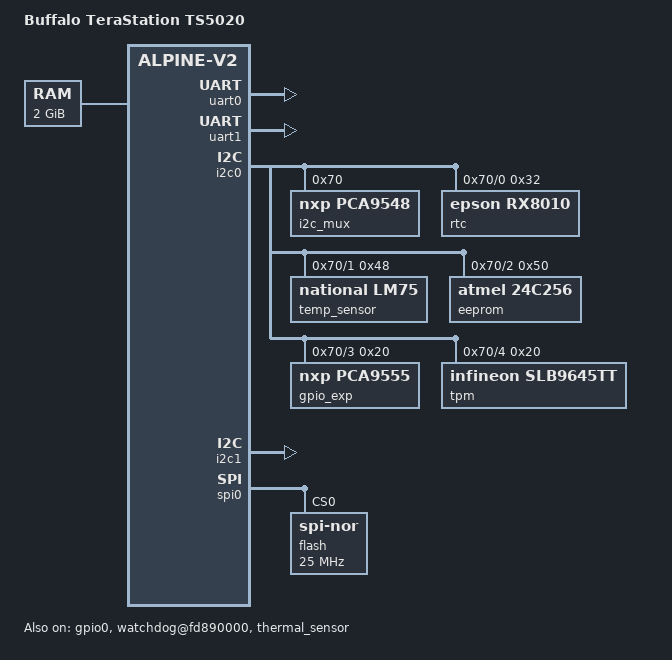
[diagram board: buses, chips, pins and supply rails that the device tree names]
/*
 * Device Tree Source for Buffalo TeraStation TS5020
 * Based on Annapurna Labs Alpine V2 SoC
 *
 * Reconstructed from:
 *   - alpine-v2.dtsi (upstream)
 *   - buffalo_ts5020_defconfig
 *   - Annapurna Labs SDK patch (v4.19.75-241-g0fb91c28a25c.patch)
 *   - Buffalo platform patch (linux-4.19.75_buffalo.patch)
 *   - micon_v3 driver source
 *
 * STATUS: DRAFT - addresses/IRQs marked TODO need verification
 *         from running hardware or U-Boot environment.
 */

/dts-v1/;

#include "alpine-v2.dtsi"
#include <dt-bindings/gpio/gpio.h>

/ {
	model = "Buffalo TeraStation TS5020";
	compatible = "buffalo,ts5020", "al,alpine-v2";

	aliases {
		serial0 = &uart0;
		serial1 = &uart1;
		serial2 = &uart2;
		serial3 = &uart3;
	};

	chosen {
		stdout-path = "serial0:115200n8";
	};

	memory@0 {
		device_type = "memory";
		/* TODO: Actual memory size - likely 4GB or 8GB ECC DDR4 */
		reg = <0x0 0x00000000 0x0 0x80000000>;  /* 2GB placeholder */
	};

	/*
	 * Buffalo Microcontroller (Micon V3)
	 * Connected via UART1 (/dev/ttyS1) at 115200 baud
	 * Handles: power off, reboot, beep, status LEDs
	 * Protocol: ESC init, command, CR delimiter, echo-back, OK/NG response
	 *
	 * Not a DT device - driven by kernel module opening /dev/ttyS1
	 */

	gpio-keys {
		compatible = "gpio-keys";
		/* TODO: Determine actual GPIO numbers from board */

		/* Power button - likely directly wired or via micon */
		/*
		power-button {
			label = "Power Button";
			linux,code = <116>;
			gpios = <&gpio0 TODO GPIO_ACTIVE_LOW>;
		};
		*/
	};

	gpio-leds {
		compatible = "gpio-leds";
		/* TODO: Determine actual GPIO pin assignments
		 *
		 * TS5020 typically has:
		 *   - Power LED (white/orange)
		 *   - Info/Error LED (orange)
		 *   - Per-disk activity LEDs
		 *   - LAN LEDs (on PHY/switch typically)
		 *
		 * Many LEDs may be controlled via micon or PCA953x GPIO expander
		 */
	};
};

/* ====== UART ====== */

/* Console UART */
&uart0 {
	status = "okay";
};

/* Micon V3 microcontroller UART - 115200 8N1 */
&uart1 {
	status = "okay";
};

/* Additional UARTs - enable if needed */
/* &uart2 { status = "okay"; }; */
/* &uart3 { status = "okay"; }; */

/* ====== SoC io-fabric additions ====== */
&soc {

	/* ====== I2C ====== */

	i2c0: i2c@fd880000 {
		compatible = "snps,designware-i2c";
		reg = <0x0 0xfd880000 0x0 0x1000>;
		/* TODO: interrupt number */
		interrupts = <GIC_SPI 0 IRQ_TYPE_LEVEL_HIGH>; /* TODO */
		#address-cells = <1>;
		#size-cells = <0>;
		status = "okay";

		/* I2C mux - PCA9548 or similar */
		i2c_mux: i2c-mux@70 {
			compatible = "nxp,pca9548";
			reg = <0x70>;  /* TODO: verify address */
			#address-cells = <1>;
			#size-cells = <0>;

			i2c@0 {
				reg = <0>;
				#address-cells = <1>;
				#size-cells = <0>;

				/* RTC - Epson RX8010SJ (primary per README) */
				rtc@32 {
					compatible = "epson,rx8010";
					reg = <0x32>;
				};
			};

			i2c@1 {
				reg = <1>;
				#address-cells = <1>;
				#size-cells = <0>;

				/* Temperature sensor - LM75 */
				temp_sensor: lm75@48 {
					compatible = "national,lm75";
					reg = <0x48>;  /* TODO: verify */
				};
			};

			i2c@2 {
				reg = <2>;
				#address-cells = <1>;
				#size-cells = <0>;

				/* EEPROM - board configuration */
				eeprom@50 {
					compatible = "atmel,24c256";
					reg = <0x50>;  /* TODO: verify size/addr */
				};
			};

			i2c@3 {
				reg = <3>;
				#address-cells = <1>;
				#size-cells = <0>;

				/* GPIO expander - PCA9555 for LEDs/buttons */
				gpio_exp: gpio@20 {
					compatible = "nxp,pca9555";
					reg = <0x20>;  /* TODO: verify */
					gpio-controller;
					#gpio-cells = <2>;
					interrupt-controller;
					#interrupt-cells = <2>;
				};
			};

			i2c@4 {
				reg = <4>;
				#address-cells = <1>;
				#size-cells = <0>;

				/* TPM - Infineon SLB9635/SLB9645 */
				tpm@20 {
					compatible = "infineon,slb9645tt";
					reg = <0x20>;  /* TODO: verify */
				};
			};
		};
	};

	/* General purpose I2C (PBS + 0x14000) */
	i2c1: i2c@fd894000 {
		compatible = "snps,designware-i2c";
		reg = <0x0 0xfd894000 0x0 0x1000>;
		/* TODO: interrupt number */
		interrupts = <GIC_SPI 0 IRQ_TYPE_LEVEL_HIGH>; /* TODO */
		#address-cells = <1>;
		#size-cells = <0>;
		status = "okay";
	};

	/* ====== SPI ====== */

	spi0: spi@fd882000 {
		compatible = "snps,dw-apb-ssi";
		reg = <0x0 0xfd882000 0x0 0x1000>;
		/* TODO: interrupt, clocks */
		#address-cells = <1>;
		#size-cells = <0>;
		status = "okay";

		/* SPI NOR boot flash */
		flash@0 {
			compatible = "jedec,spi-nor";
			reg = <0>;
			/* TODO: spi-max-frequency */
			spi-max-frequency = <25000000>;

			partitions {
				compatible = "fixed-partitions";
				#address-cells = <1>;
				#size-cells = <1>;
				/* TODO: partition layout from mtdparts or U-Boot env */
			};
		};
	};

	/* ====== GPIO ====== */

	gpio0: gpio@fd890000 {
		compatible = "snps,dw-apb-gpio";
		reg = <0x0 0xfd890000 0x0 0x1000>;  /* TODO: verify */
		#address-cells = <1>;
		#size-cells = <0>;
		status = "okay";

		porta: gpio-port@0 {
			compatible = "snps,dw-apb-gpio-port";
			reg = <0>;
			gpio-controller;
			#gpio-cells = <2>;
			interrupt-controller;
			#interrupt-cells = <2>;
			/* TODO: ngpios, interrupts */
		};
	};

	/* ====== Watchdog ====== */

	watchdog@fd890000 {
		compatible = "arm,sp805", "arm,primecell";
		/* TODO: actual WDT register address
		 * Formula: AL_WD_BASE(idx) = PBS + WD_offset
		 */
		reg = <0x0 0xfd890000 0x0 0x1000>;  /* TODO: verify */
		/* TODO: interrupt */
		clocks = <&sbclk>;
		clock-names = "apb_pclk";
		status = "okay";
	};

	/* ====== Thermal ====== */

	thermal_sensor: thermal@fd8a0000 {
		/* TODO: actual register address from HAL
		 * al_hal_thermal_sensor.c uses a handle-based init
		 */
		compatible = "amazon,alpine-v2-thermal";  /* TODO: verify compat */
		reg = <0x0 0xfd8a0000 0x0 0x1000>;  /* TODO */
		status = "okay";
	};

	/* ====== SRAM ====== */

	sram@fd8c0000 {
		compatible = "mmio-sram";
		reg = <0x0 0xfd8c0000 0x0 0x10000>;  /* PBS + 0x40000 */
	};

	/* ====== NB Service (reboot) ====== */

	nb_service: syscon@f0070000 {
		compatible = "syscon", "simple-mfd";
		reg = <0x0 0xf0070000 0x0 0x10000>;

		reboot {
			compatible = "syscon-reboot";
			/* TODO: offset and value */
		};
	};

};

/* ====== PCI internal: SATA, Ethernet, SSM (Crypto/RAID) ====== */
/*
 * On Alpine V2, SATA, Ethernet, and SSM (crypto/RAID DMA) are
 * all on the internal PCIe bus. They appear as PCI devices and
 * are matched by PCI vendor/device ID, not DT compatible strings.
 *
 * Key PCI devices:
 *   1c36:0031 - AHCI SATA controller
 *   1c36:xxxx - AL Ethernet (NET_AL_ETH)
 *   1c36:xxxx - SSM crypto/RAID engine
 *
 * The internal PCI host bridge is already in the DTSI at 0xfbc00000.
 * The SATA interrupt mapping in the DTSI maps:
 *   device 8 (SATA0) -> GIC SPI 53
 *   device 9 (SATA1) -> GIC SPI 54
 *
 * Additional PCIe devices (external slots):
 *   - Realtek R8125 2.5GbE NIC (PCI device, CONFIG_R8125=y)
 */

/* ====== NAND flash ====== */
/*
 * AL NAND controller - CONFIG_MTD_NAND_AL=y
 * TODO: Register base address not determined.
 * Likely in PBS address space. The HAL uses al_nand_init() with
 * a register base pointer.
 *
 * nand: nand@XXXXXXXX {
 *     compatible = "annapurna-labs,al-nand";
 *     reg = <0x0 0xXXXXXXXX 0x0 0x1000>;
 *     status = "okay";
 * };
 */
